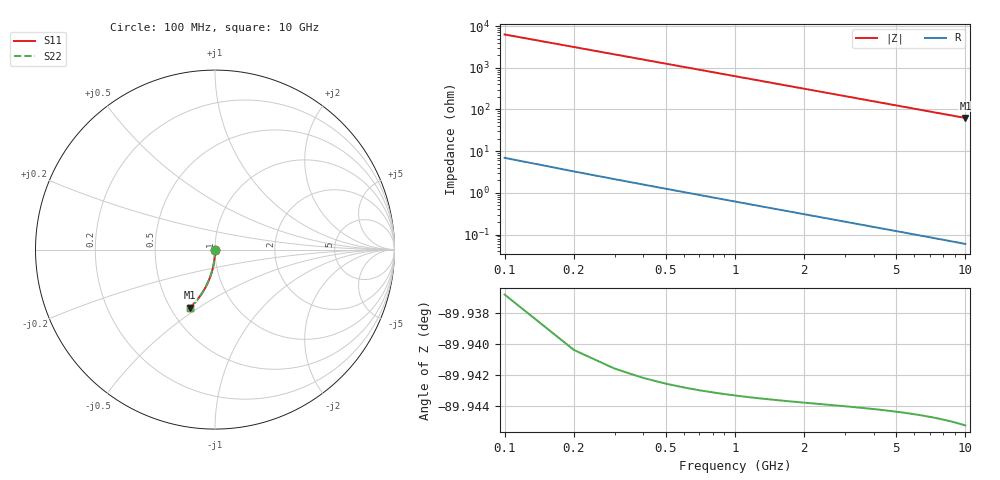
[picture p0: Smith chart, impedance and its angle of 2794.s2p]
# Hz S RI R 50.00
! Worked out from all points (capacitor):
!   100 points, 100 MHz to 10 GHz, reference 50 ohm
!   read as one part in shunt: C = 254 fF near 100 MHz
!   lowest |Z| = 62.5 ohm at 10 GHz (marker M1)
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1e8  4.74e-05 -0.00375  0.9999 -0.00422  0.9999 -0.00422  4.74e-05 -0.00375
2e8  -3.53e-06 -0.00751  0.9999 -0.00843  0.9999 -0.00843  -3.53e-06 -0.00751
3e8  -8.63e-05 -0.0113  0.9998 -0.0127  0.9998 -0.0127  -8.63e-05 -0.0113
4e8  -0.000201 -0.015  0.9997 -0.0169  0.9997 -0.0169  -0.000201 -0.015
5e8  -0.000347 -0.0188  0.9995 -0.0211  0.9995 -0.0211  -0.000347 -0.0188
6e8  -0.000525 -0.0225  0.9993 -0.0253  0.9993 -0.0253  -0.000525 -0.0225
7e8  -0.000734 -0.0263  0.9991 -0.0295  0.9991 -0.0295  -0.000734 -0.0263
8e8  -0.000975 -0.03  0.9989 -0.0337  0.9989 -0.0337  -0.000975 -0.03
9e8  -0.00125 -0.0338  0.9986 -0.0379  0.9986 -0.0379  -0.00125 -0.0338
1.1e9  -0.00189 -0.0412  0.998 -0.0463  0.998 -0.0463  -0.00189 -0.0412
1.4e9  -0.00308 -0.0524  0.9968 -0.0589  0.9968 -0.0589  -0.00308 -0.0524
1.8e9  -0.00512 -0.0673  0.9947 -0.0756  0.9947 -0.0756  -0.00512 -0.0673
2.1e9  -0.00696 -0.0784  0.9928 -0.0881  0.9928 -0.0881  -0.00696 -0.0784
2.5e9  -0.00986 -0.093  0.9899 -0.1046  0.9899 -0.1046  -0.00986 -0.093
2.9e9  -0.0132 -0.1076  0.9865 -0.121  0.9865 -0.121  -0.0132 -0.1076
3.4e9  -0.0181 -0.1255  0.9816 -0.1413  0.9816 -0.1413  -0.0181 -0.1255
4.2e9  -0.0275 -0.1537  0.9722 -0.1732  0.9722 -0.1732  -0.0275 -0.1537
5.1e9  -0.0401 -0.1843  0.9595 -0.208  0.9595 -0.208  -0.0401 -0.1843
5.9e9  -0.053 -0.2103  0.9465 -0.2379  0.9465 -0.2379  -0.053 -0.2103
6.7e9  -0.0675 -0.2352  0.9319 -0.2665  0.9319 -0.2665  -0.0675 -0.2352
8.4e9  -0.1025 -0.2837  0.8965 -0.3232  0.8965 -0.3232  -0.1025 -0.2837
1e10  -0.1399 -0.3235  0.8588 -0.3706  0.8588 -0.3706  -0.1399 -0.3235
